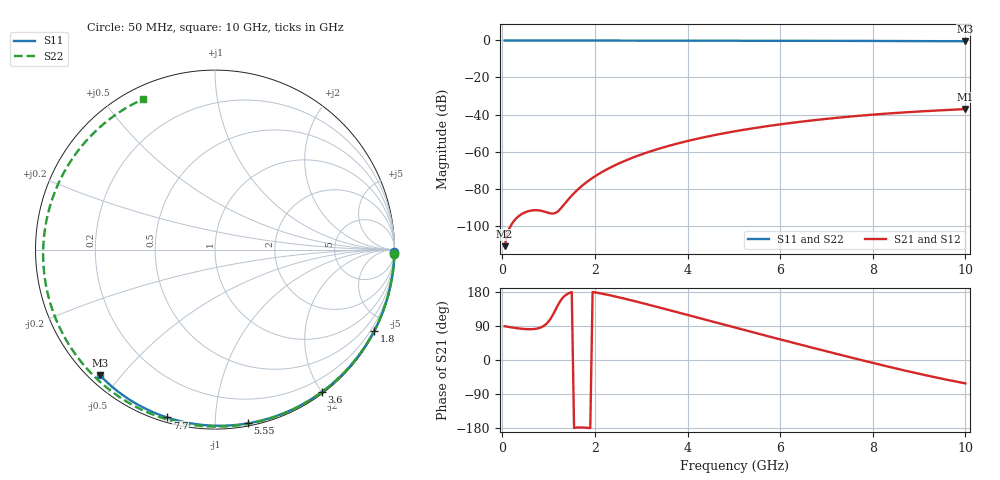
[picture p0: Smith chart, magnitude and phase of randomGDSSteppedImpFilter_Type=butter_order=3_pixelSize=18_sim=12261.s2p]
! freq	dB(S11)	phase(S11)	dB(S12)	phase(S12)
!  dB(S21)	phase(S21)	dB(S22)	phase(S22)
!S-par simulation data
#  GHz  S  DB  R 50
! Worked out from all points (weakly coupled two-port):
!   200 points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, 50 MHz to 10 GHz, reference 50 ohm
!   highest |S21| = -37.05 dB at 10 GHz (marker M1); lowest = -111.1 dB at 50 MHz (marker M2)
!   lowest |S11| = -0.5 dB at 10 GHz (marker M3), VSWR 38.46, Z = 1.55 - j22 ohm
!   |S11| at or under -10 dB: nowhere
!   |S22| runs from -0.6 to 0.0 dB; largest |S21 - S12| = 0
!   S11 on the Smith chart (normalised r, x): 50 MHz: open; 1.8 GHz: 0.04, -4.14; 3.6 GHz: 0.02, -2.00; 5.55 GHz: 0.02, -1.21; 7.7 GHz: 0.02, -0.75; 10 GHz: 0.03, -0.44
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0.05  -0.00 -0.8  -111.11 89.1  -111.11 89.1  -0.00 -1.3
0.8  -0.02 -12.2  -91.82 84.5  -91.82 84.5  -0.03 -21.2
1.65  -0.03 -25.0  -80.06 -178.0  -80.06 -178.0  -0.06 -43.2
1.75  -0.03 -26.4  -77.91 -178.1  -77.91 -178.1  -0.06 -45.8
1.8  -0.03 -27.2  -76.92 -178.5  -76.92 -178.5  -0.06 -47.1
2.1  -0.04 -31.6  -71.84 176.3  -71.84 176.3  -0.07 -54.6
2.5  -0.05 -37.5  -66.63 165.9  -66.63 165.9  -0.08 -64.5
2.9  -0.06 -43.2  -62.50 154.0  -62.50 154.0  -0.10 -74.2
3.4  -0.07 -50.3  -58.33 138.3  -58.33 138.3  -0.11 -86.1
3.6  -0.07 -53.1  -56.89 131.9  -56.89 131.9  -0.12 -90.8
4.3  -0.09 -62.8  -52.59 109.2  -52.59 109.2  -0.15 -106.9
5.05  -0.11 -72.8  -48.94 84.8  -48.94 84.8  -0.19 -123.7
5.55  -0.13 -79.3  -46.92 68.7  -46.92 68.7  -0.22 -134.8
6.15  -0.15 -87.0  -44.82 49.6  -44.82 49.6  -0.26 -148.1
6.7  -0.18 -93.8  -43.16 32.3  -43.16 32.3  -0.30 -160.4
7.2  -0.21 -99.9  -41.84 16.7  -41.84 16.7  -0.35 -171.8
7.7  -0.24 -105.9  -40.68 1.4  -40.68 1.4  -0.39 176.4
8.35  -0.29 -113.6  -39.41 -18.0  -39.41 -18.0  -0.46 160.5
8.75  -0.32 -118.2  -38.74 -29.5  -38.74 -29.5  -0.50 150.3
9.15  -0.36 -122.8  -38.15 -40.5  -38.15 -40.5  -0.55 139.6
9.55  -0.40 -127.4  -37.62 -50.8  -37.62 -50.8  -0.59 128.5
10  -0.45 -132.5  -37.05 -61.7  -37.05 -61.7  -0.64 115.5
